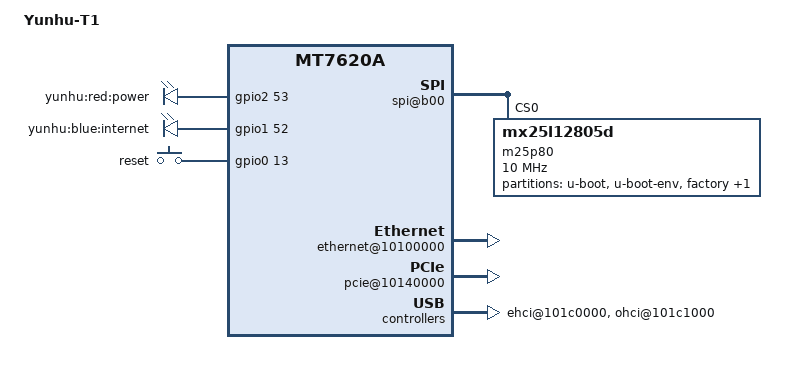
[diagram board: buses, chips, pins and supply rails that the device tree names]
/dts-v1/;

/include/ "mt7620a.dtsi"

/ {
	compatible = "yunhu,yunhu-t1", "ralink,mt7620a-soc";
	model = "Yunhu-T1";
	
	chosen {
		bootargs = "console=ttyS0,115200";
	};

	palmbus@10000000 {
		sysc@0 {
			ralink,gpiomux = "i2c", "jtag";
			ralink,uartmux = "gpio";
			ralink,wdtmux = <1>;
		};

		gpio0: gpio@600 {
			status = "okay";
		};

		gpio1: gpio@638 {
			status = "okay";
		};

		gpio2: gpio@660 {
			status = "okay";
		};

		gpio3: gpio@688 {
			status = "okay";
		};

		spi@b00 {
			status = "okay";

			m25p80@0 {
				#address-cells = <1>;
				#size-cells = <1>;
				compatible = "mx25l12805d";
				reg = <0 0>;
				linux,modalias = "m25p80", "mx25l12805d";
				spi-max-frequency = <10000000>;

				partition@0 {
					label = "u-boot";
					reg = <0x0 0x30000>;
					read-only;
				};

				partition@30000 {
					label = "u-boot-env";
					reg = <0x30000 0x10000>;
					read-only;
				};

				factory: partition@40000 {
					label = "factory";
					reg = <0x40000 0x10000>;
					read-only;
				};

				partition@50000 {
					label = "firmware";
					reg = <0x50000 0xfb0000>;
				};
			};
		};
	};

	ethernet@10100000 {
		status = "okay";

		pinctrl-names = "default";
		pinctrl-0 = <&ephy_pins>;

		ralink,port-map = "llllw";
	};

	gsw@10110000 {
		ralink,port4 = "ephy";
	};

	pcie@10140000 {
		status = "okay";
	};

	ehci@101c0000 {
		status = "okay";
	};

	ohci@101c1000 {
		status = "okay";
	};

	wmac@10180000 {
		ralink,mtd-eeprom = <&factory 0>;
	};

	pinctrl {
		state_default: pinctrl0 {
			gpio {
				ralink,group = "uartf", "wled", "nd_sd";
				ralink,function = "gpio";
			};
			pa {
				ralink,group = "pa";
				ralink,function = "pa";
			};
		};
	};

	gpio-leds {
		compatible = "gpio-leds";
		power {
			label = "yunhu:red:power";
			gpios = <&gpio2 53 0>;
		};
		internet {
			label = "yunhu:blue:internet";
			gpios = <&gpio1 52 0>;
		};
	};

	gpio-keys-polled {
		compatible = "gpio-keys";
		#address-cells = <1>;
		#size-cells = <0>;
		poll-interval = <20>;
		reset {
			label = "reset";
			gpios = <&gpio0 13 0>;
			linux,code = <0x101>;
		};
	};
};
